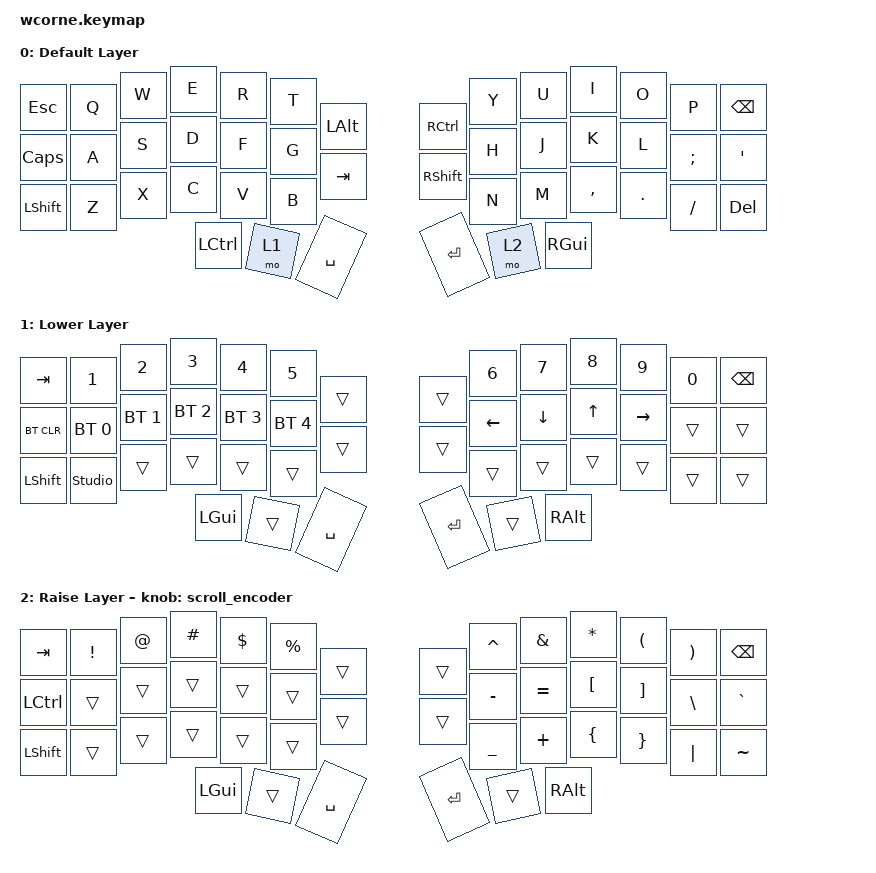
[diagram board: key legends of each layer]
#define ZMK_POINTING_DEFAULT_MOVE_VAL 1500  // 600
#define ZMK_POINTING_DEFAULT_SCRL_VAL 100   // 10

#include <input/processors.dtsi>
#include <zephyr/dt-bindings/input/input-event-codes.h>
#include <behaviors.dtsi>
#include <dt-bindings/zmk/bt.h>
#include <dt-bindings/zmk/ext_power.h>
#include <dt-bindings/zmk/keys.h>
#include <dt-bindings/zmk/pointing.h>
#include <dt-bindings/zmk/rgb.h>

&mmv_input_listener { input-processors = <&zip_xy_scaler 2 1>; };

&msc_input_listener { input-processors = <&zip_scroll_scaler 3 1>; };

&msc {
    acceleration-exponent = <1>;      // 0
    time-to-max-speed-ms = <40>;       // 300
    delay-ms = <16>;                   // 0
};

&mmv {
    time-to-max-speed-ms = <500>;
    acceleration-exponent = <1>;
    trigger-period-ms = <16>;
};

/ {
    macros {
        flash_macro: flash_macro {
            compatible = "zmk,behavior-macro";
            #binding-cells = <0>;
            bindings = <&bootloader>;
        };
    };

    behaviors {
        hml: homerow_mods_left {
            compatible = "zmk,behavior-hold-tap";
            label = "HOMEROW_MODS_LEFT";
            bindings = <&kp>, <&kp>;

            #binding-cells = <2>;
            tapping-term-ms = <200>;
            quick-tap-ms = <180>;
            flavor = "balanced";
            require-prior-idle-ms = <125>;
            hold-trigger-key-positions = <21 22 23>;
            hold-trigger-on-release;
        };

        ltq: ltq {
            compatible = "zmk,behavior-hold-tap";
            label = "LTQ";
            bindings = <&mo>, <&kp>;

            #binding-cells = <2>;
            tapping-term-ms = <200>;
            quick-tap-ms = <180>;
        };

        as: auto_shift {
            compatible = "zmk,behavior-hold-tap";
            label = "AUTO_SHIFT";
            bindings = <&kp>, <&kp>;

            #binding-cells = <2>;
            tapping-term-ms = <135>;
            quick-tap-ms = <0>;
        };

        hmr: hmr {
            compatible = "zmk,behavior-hold-tap";
            label = "HMR";
            bindings = <&kp>, <&kp>;

            #binding-cells = <2>;
            tapping-term-ms = <200>;
            quick-tap-ms = <180>;
            flavor = "balanced";
            require-prior-idle-ms = <125>;
            hold-trigger-key-positions = <17 16 15 14>;
            hold-trigger-on-release;
        };
    };

    combos {
        compatible = "zmk,combos";

        esc {
            bindings = <&kp ESCAPE>;
            key-positions = <0 1>;
        };

        left_bkt {
            bindings = <&kp LEFT_BRACKET>;
            key-positions = <3 4>;
        };

        right_bkt {
            bindings = <&kp RIGHT_BRACKET>;
            key-positions = <9 8>;
        };

        left_par {
            bindings = <&kp LEFT_PARENTHESIS>;
            key-positions = <16 17>;
        };

        right_par {
            bindings = <&kp RIGHT_PARENTHESIS>;
            key-positions = <21 22>;
        };

        left_brace {
            bindings = <&kp LEFT_BRACE>;
            key-positions = <29 30>;
        };

        right_brace {
            bindings = <&kp RIGHT_BRACE>;
            key-positions = <34 35>;
        };

        bac {
            bindings = <&kp BACKSLASH>;
            key-positions = <5 7>;
        };

        pipe {
            bindings = <&kp PIPE>;
            key-positions = <18 20>;
        };
    };

    keymap {
                compatible = "zmk,keymap";

                default_layer {
                        display-name = "Default Layer";
// -----------------------------------------------------------------------------------------
// |  TAB |  Q  |  W  |  E  |  R  |  T  |   |  Y  |  U   |  I  |  O  |  P  | BSPC |
// | CTRL |  A  |  S  |  D  |  F  |  G  |   |  H  |  J   |  K  |  L  |  ;  |  '   |
// | SHFT |  Z  |  X  |  C  |  V  |  B  |   |  N  |  M   |  ,  |  .  |  /  | ESC  |
//                    | GUI | LWR | SPC |   | ENT | RSE  | ALT |
                        bindings = <
   &kp ESC   &kp Q &kp W &kp E &kp R &kp T  &kp LALT     &kp RCTRL   &kp Y &kp U  &kp I     &kp O   &kp P    &kp BSPC
   &kp CAPS  &kp A &kp S &kp D &kp F &kp G  &kp TAB      &kp RSHFT   &kp H &kp J  &kp K     &kp L   &kp SEMI &kp SQT
   &kp LSHFT &kp Z &kp X &kp C &kp V &kp B                          &kp N &kp M  &kp COMMA &kp DOT &kp FSLH &kp DEL
                  &kp LCTRL  &mo 1 &kp SPACE                        &kp RET &mo 2 &kp RGUI
                        >;
                };
                lower_layer {
                        display-name = "Lower Layer";
// -----------------------------------------------------------------------------------------
// |  TAB |  1  |  2  |  3  |  4  |  5  |   |  6  |  7  |  8  |  9  |  0  | BSPC |
// | BTCLR| BT1 | BT2 | BT3 | BT4 | BT5 |   | LFT | DWN |  UP | RGT |     |      |
// | SHFT |     |     |     |     |     |   |     |     |     |     |     |      |
//                    | GUI |     | SPC |   | ENT |     | ALT |
                        bindings = <
   &kp TAB    &kp N1       &kp N2       &kp N3       &kp N4       &kp N5   &trans &trans       &kp N6   &kp N7   &kp N8 &kp N9    &kp N0 &kp BSPC
   &bt BT_CLR &bt BT_SEL 0 &bt BT_SEL 1 &bt BT_SEL 2 &bt BT_SEL 3 &bt BT_SEL 4 &trans &trans   &kp LEFT &kp DOWN &kp UP &kp RIGHT &trans &trans
   &kp LSHFT  &studio_unlock      &trans       &trans       &trans       &trans         &trans   &trans   &trans &trans    &trans &trans
                                    &kp LGUI     &trans       &kp SPACE      &kp RET  &trans   &kp RALT
                        >;
                };

                raise_layer {
                        display-name = "Raise Layer";
// -----------------------------------------------------------------------------------------
// |  TAB |  !  |  @  |  #  |  $  |  %  |   |  ^  |  &  |  *  |  (  |  )  | BSPC |
// | CTRL |     |     |     |     |     |   |  -  |  =  |  [  |  ]  |  \  |  `   |
// | SHFT |     |     |     |     |     |   |  _  |  +  |  {  |  }  | "|" |  ~   |
//                    | GUI |     | SPC |   | ENT |     | ALT |
                        bindings = <
   &kp  TAB  &kp EXCL &kp AT &kp HASH &kp DLLR &kp PRCNT &trans &trans   &kp CARET &kp AMPS  &kp ASTRK &kp LPAR &kp RPAR &kp BSPC
   &kp LCTRL &trans   &trans &trans   &trans   &trans   &trans &trans    &kp MINUS &kp EQUAL &kp LBKT  &kp RBKT &kp BSLH &kp GRAVE
   &kp LSHFT &trans   &trans &trans   &trans   &trans      &kp UNDER &kp PLUS  &kp LBRC  &kp RBRC &kp PIPE &kp TILDE
                             &kp LGUI &trans   &kp SPACE   &kp RET   &trans    &kp RALT
                        >;
            label = "Mouse";
            sensor-bindings = <&scroll_encoder>;
        };
    };

    conditional_layers {
        compatible = "zmk,conditional-layers";

        Flash {
            if-layers = <3 2>;
            then-layer = <4>;
        };
    };
};
